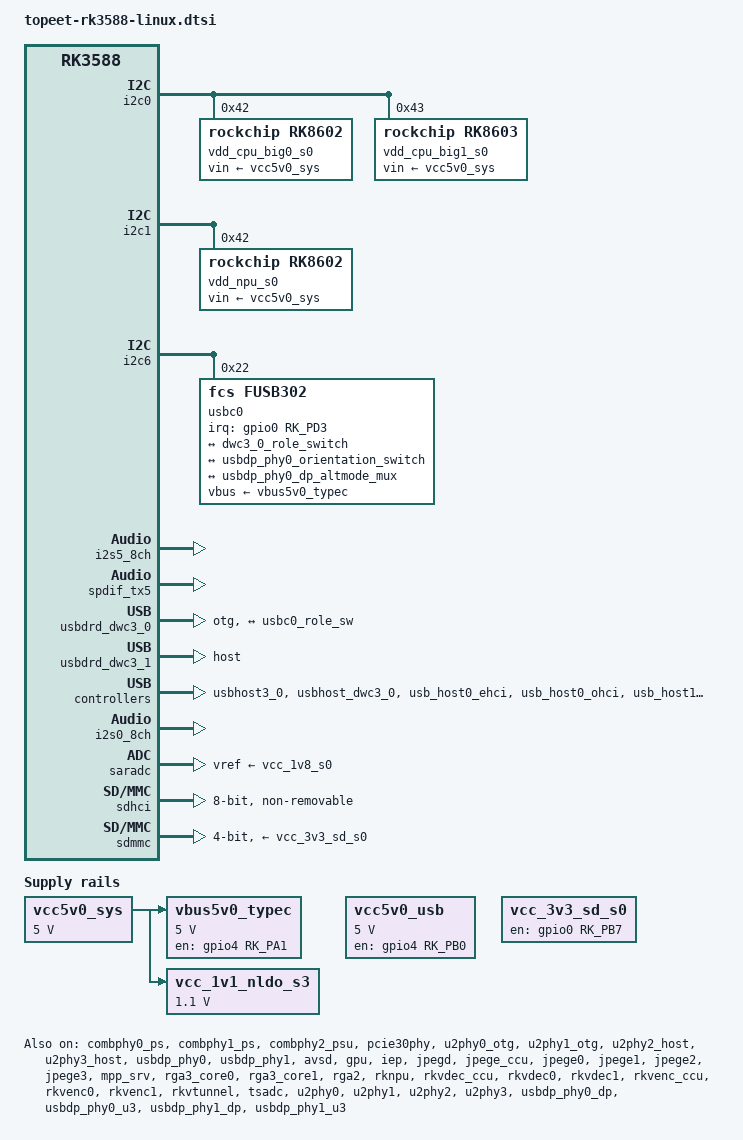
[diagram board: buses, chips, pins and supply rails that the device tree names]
// SPDX-License-Identifier: (GPL-2.0+ OR MIT)
/*
 * Copyright (c) 2021 Rockchip Electronics Co., Ltd.
 *
 */
#include <dt-bindings/gpio/gpio.h>
#include <dt-bindings/pwm/pwm.h>
#include <dt-bindings/pinctrl/rockchip.h>
#include <dt-bindings/input/rk-input.h>
#include <dt-bindings/display/drm_mipi_dsi.h>
#include <dt-bindings/display/rockchip_vop.h>
#include <dt-bindings/sensor-dev.h>
#include "dt-bindings/usb/pd.h"
#include "rk3588.dtsi"
#include "rk3588-rk806-single.dtsi"

/ {
	// HDMI0声卡
	hdmi0_sound: hdmi0-sound {
		status = "disabled";
		compatible = "rockchip,hdmi";
		rockchip,mclk-fs = <128>;
		rockchip,card-name = "rockchip-hdmi0";
		rockchip,cpu = <&i2s5_8ch>;
		rockchip,codec = <&hdmi0>;
		rockchip,jack-det;
	};

	// HDMI1声卡
	hdmi1_sound: hdmi1-sound {
		status = "disabled";
		compatible = "rockchip,hdmi";
		rockchip,mclk-fs = <128>;
		rockchip,card-name = "rockchip-hdmi1";
		rockchip,cpu = <&i2s6_8ch>;
		rockchip,codec = <&hdmi1>;
		rockchip,jack-det;
	};

	// DP0声卡
	dp0_sound: dp0-sound {
		status = "disabled";
		compatible = "rockchip,hdmi";
		rockchip,card-name= "rockchip-dp0";
		rockchip,mclk-fs = <512>;
		rockchip,cpu = <&spdif_tx2>;
		rockchip,codec = <&dp0 1>;
		rockchip,jack-det;
	};

	//HDMI in
	hdmiin_dc: hdmiin-dc {
			compatible = "rockchip,dummy-codec";
			#sound-dai-cells = <0>;
	};

	hdmiin-sound {
			compatible = "simple-audio-card";
			simple-audio-card,format = "i2s";
			simple-audio-card,name = "rockchip,hdmiin";
			simple-audio-card,bitclock-master = <&dailink0_master>;
			simple-audio-card,frame-master = <&dailink0_master>;
			status = "okay";
			simple-audio-card,cpu {
					sound-dai = <&i2s7_8ch>;
			};
			dailink0_master: simple-audio-card,codec {
					sound-dai = <&hdmiin_dc>;
			};
	};

	// 5V系统供电
	vcc5v0_sys: vcc5v0-sys {
		compatible = "regulator-fixed";
		regulator-name = "vcc5v0_sys";
		regulator-always-on;
		regulator-boot-on;
		regulator-min-microvolt = <5000000>;
		regulator-max-microvolt = <5000000>;
	};

	//USB2.0 3.0 5V供电
	vcc5v0_usb: vcc5v0-usb {
		compatible = "regulator-fixed";
		regulator-name = "vcc5v0_usb";
		regulator-always-on;
		regulator-boot-on;
		enable-active-high;
		regulator-min-microvolt = <5000000>;
		regulator-max-microvolt = <5000000>;
		gpio = <&gpio4 RK_PB0 GPIO_ACTIVE_HIGH>;
	};

	//TYPEC 5V供电
	vbus5v0_typec: vbus5v0-typec {
		compatible = "regulator-fixed";
		regulator-name = "vbus5v0_typec";
		regulator-min-microvolt = <5000000>;
		regulator-max-microvolt = <5000000>;
		enable-active-high;
		gpio = <&gpio4 RK_PA1 GPIO_ACTIVE_HIGH>;
		vin-supply = <&vcc5v0_sys>;
		pinctrl-names = "default";
		pinctrl-0 = <&typec5v_pwren>;
	};

	//SD卡供电
	vcc_3v3_sd_s0: vcc-3v3-sd-s0-regulator {
		compatible = "regulator-fixed";
		gpio = <&gpio0 RK_PB7 GPIO_ACTIVE_HIGH>;
		pinctrl-names = "default";
		pinctrl-0 = <&sd_s0_pwr>;
		regulator-name = "vcc_3v3_sd_s0";
		enable-active-high;
	};

	vcc_1v1_nldo_s3: vcc-1v1-nldo-s3 {
		compatible = "regulator-fixed";
		regulator-name = "vcc_1v1_nldo_s3";
		regulator-always-on;
		regulator-boot-on;
		regulator-min-microvolt = <1100000>;
		regulator-max-microvolt = <1100000>;
		vin-supply = <&vcc5v0_sys>;
	};


};


&i2c0 {
	status = "okay";
	pinctrl-names = "default";
	pinctrl-0 = <&i2c0m2_xfer>;

	vdd_cpu_big0_s0: vdd_cpu_big0_mem_s0: rk8602@42 {
		compatible = "rockchip,rk8602";
		reg = <0x42>;
		vin-supply = <&vcc5v0_sys>;
		regulator-compatible = "rk860x-reg";
		regulator-name = "vdd_cpu_big0_s0";
		regulator-min-microvolt = <550000>;
		regulator-max-microvolt = <1050000>;
		regulator-ramp-delay = <2300>;
		rockchip,suspend-voltage-selector = <1>;
		regulator-boot-on;
		regulator-always-on;
		regulator-state-mem {
			regulator-off-in-suspend;
		};
	};

	vdd_cpu_big1_s0: vdd_cpu_big1_mem_s0: rk8603@43 {
		compatible = "rockchip,rk8603";
		reg = <0x43>;
		vin-supply = <&vcc5v0_sys>;
		regulator-compatible = "rk860x-reg";
		regulator-name = "vdd_cpu_big1_s0";
		regulator-min-microvolt = <550000>;
		regulator-max-microvolt = <1050000>;
		regulator-ramp-delay = <2300>;
		rockchip,suspend-voltage-selector = <1>;
		regulator-boot-on;
		regulator-always-on;
		regulator-state-mem {
			regulator-off-in-suspend;
		};
	};
};

&i2c1 {
	status = "okay";
	pinctrl-names = "default";
	pinctrl-0 = <&i2c1m2_xfer>;

	vdd_npu_s0: vdd_npu_mem_s0: rk8602@42 {
		compatible = "rockchip,rk8602";
		reg = <0x42>;
		vin-supply = <&vcc5v0_sys>;
		regulator-compatible = "rk860x-reg";
		regulator-name = "vdd_npu_s0";
		regulator-min-microvolt = <550000>;
		regulator-max-microvolt = <950000>;
		regulator-ramp-delay = <2300>;
		rockchip,suspend-voltage-selector = <1>;
		regulator-boot-on;
		regulator-always-on;
		regulator-state-mem {
			regulator-off-in-suspend;
		};
	};
};


&combphy0_ps {
	status = "okay";
};

&combphy1_ps {
	status = "okay";
};

&combphy2_psu {
	status = "okay";
};


&i2c6 {
	status = "okay";

		usbc0: fusb302@22 {
			compatible = "fcs,fusb302";
			reg = <0x22>;
			interrupt-parent = <&gpio0>;
			interrupts = <RK_PD3 IRQ_TYPE_LEVEL_LOW>;
			pinctrl-names = "default";
			pinctrl-0 = <&usbc0_int>;
			vbus-supply = <&vbus5v0_typec>;
			status = "okay";

			ports {
					#address-cells = <1>;
					#size-cells = <0>;

					port@0 {
							reg = <0>;
							usbc0_role_sw: endpoint@0 {
									remote-endpoint = <&dwc3_0_role_switch>;
							};
					};
			};

			usb_con: connector {
					compatible = "usb-c-connector";
					label = "USB-C";
					data-role = "dual";
					power-role = "dual";
					try-power-role = "sink";
					op-sink-microwatt = <1000000>;
					sink-pdos =
							<PDO_FIXED(5000, 1000, PDO_FIXED_USB_COMM)>;
					source-pdos =
							<PDO_FIXED(5000, 3000, PDO_FIXED_USB_COMM)>;

					altmodes {
							#address-cells = <1>;
							#size-cells = <0>;

							altmode@0 {
									reg = <0>;
									svid = <0xff01>;
									vdo = <0xffffffff>;
							};
					};

					ports {
							#address-cells = <1>;
							#size-cells = <0>;

							port@0 {
									reg = <0>;
									usbc0_orien_sw: endpoint {
											remote-endpoint = <&usbdp_phy0_orientation_switch>;
									};
							};

							port@1 {
									reg = <1>;
									dp_altmode_mux: endpoint {
											remote-endpoint = <&usbdp_phy0_dp_altmode_mux>;
									};
							};

					};
			};
	};
};

&i2s5_8ch {
	status = "okay";
};

&pcie30phy {
	status = "okay";
};


&pinctrl {
	usb-typec {
		usbc0_int: usbc0-int {
			rockchip,pins = <0 RK_PD3 RK_FUNC_GPIO &pcfg_pull_up>;
		};

		typec5v_pwren: typec5v-pwren {
			rockchip,pins = <4 RK_PA1 RK_FUNC_GPIO &pcfg_pull_none>;
		};
	};
	
	sdmmc {
		sd_s0_pwr: sd-s0-pwr {
			rockchip,pins = <0 RK_PB7 RK_FUNC_GPIO &pcfg_pull_up>;
		};
	};
};


&spdif_tx5 {
	status = "okay";
};

&u2phy0_otg {
	rockchip,typec-vbus-det;
};

&u2phy1_otg {
        status = "okay";
};

&u2phy2_host {
        status = "okay";
};

&u2phy3_host {
        status = "okay";
};

&usbdp_phy0 {
	orientation-switch;
	svid = <0xff01>;
	sbu1-dc-gpios = <&gpio4 RK_PA6 GPIO_ACTIVE_HIGH>;
	sbu2-dc-gpios = <&gpio4 RK_PA7 GPIO_ACTIVE_HIGH>;

	port {
		#address-cells = <1>;
		#size-cells = <0>;
		usbdp_phy0_orientation_switch: endpoint@0 {
			reg = <0>;
			remote-endpoint = <&usbc0_orien_sw>;
		};

		usbdp_phy0_dp_altmode_mux: endpoint@1 {
			reg = <1>;
			remote-endpoint = <&dp_altmode_mux>;
		};
	};
};


&usbdrd_dwc3_0 {
	status = "okay";
	dr_mode = "otg";
	usb-role-switch;
	port {
		#address-cells = <1>;
		#size-cells = <0>;
		dwc3_0_role_switch: endpoint@0 {
			reg = <0>;
			remote-endpoint = <&usbc0_role_sw>;
		};
	};
};

&usbdp_phy1 {
        status = "okay";
        rockchip,dp-lane-mux = <2 3>;
};


&usbdrd_dwc3_1 {
        status = "okay";
        dr_mode = "host";
};


&usbhost3_0 {
        status = "okay";
};

&usbhost_dwc3_0 {
        status = "okay";
};
&av1d_mmu {
	status = "okay";
};

&avsd {
	status = "okay";
};

&cpu_l0 {
	cpu-supply = <&vdd_cpu_lit_s0>;
	mem-supply = <&vdd_cpu_lit_mem_s0>;
};

&cpu_b0 {
	cpu-supply = <&vdd_cpu_big0_s0>;
	mem-supply = <&vdd_cpu_big0_mem_s0>;
};

&cpu_b2 {
	cpu-supply = <&vdd_cpu_big1_s0>;
	mem-supply = <&vdd_cpu_big1_mem_s0>;
};


&gpu {
	mali-supply = <&vdd_gpu_s0>;
	mem-supply = <&vdd_gpu_mem_s0>;
	status = "okay";
};

&i2s0_8ch {
	status = "okay";
	pinctrl-0 = <&i2s0_lrck
		     &i2s0_sclk
		     &i2s0_sdi0
		     &i2s0_sdo0>;
};

&iep {
	status = "okay";
};

&iep_mmu {
	status = "okay";
};

&jpegd {
	status = "okay";
};

&jpegd_mmu {
	status = "okay";
};

&jpege_ccu {
	status = "okay";
};

&jpege0 {
	status = "okay";
};

&jpege0_mmu {
	status = "okay";
};

&jpege1 {
	status = "okay";
};

&jpege1_mmu {
	status = "okay";
};

&jpege2 {
	status = "okay";
};

&jpege2_mmu {
	status = "okay";
};

&jpege3 {
	status = "okay";
};

&jpege3_mmu {
	status = "okay";
};

&mpp_srv {
	status = "okay";
};

&rga3_core0 {
	status = "okay";
};

&rga3_0_mmu {
	status = "okay";
};

&rga3_core1 {
	status = "okay";
};

&rga3_1_mmu {
	status = "okay";
};

&rga2 {
	status = "okay";
};

&rknpu {
	rknpu-supply = <&vdd_npu_s0>;
	mem-supply = <&vdd_npu_mem_s0>;
	status = "okay";
};

&rknpu_mmu {
	status = "okay";
};

&rkvdec_ccu {
	status = "okay";
};

&rkvdec0 {
	status = "okay";
};

&rkvdec0_mmu {
	status = "okay";
};

&rkvdec1 {
	status = "okay";
};

&rkvdec1_mmu {
	status = "okay";
};

&rkvenc_ccu {
	status = "okay";
};

&rkvenc0 {
	venc-supply = <&vdd_vdenc_s0>;
	mem-supply = <&vdd_vdenc_mem_s0>;
	status = "okay";
};

&rkvenc0_mmu {
	status = "okay";
};

&rkvenc1 {
	venc-supply = <&vdd_vdenc_s0>;
	mem-supply = <&vdd_vdenc_mem_s0>;
	status = "okay";
};

&rkvenc1_mmu {
	status = "okay";
};

&rkvtunnel {
	status = "okay";
};

&rockchip_suspend {
	status = "okay";
	rockchip,sleep-debug-en = <1>;
};

&saradc {
	status = "okay";
	vref-supply = <&vcc_1v8_s0>;
};

&sdhci {
	bus-width = <8>;
	no-sdio;
	no-sd;
	non-removable;
	max-frequency = <200000000>;
	mmc-hs400-1_8v;
	mmc-hs400-enhanced-strobe;
	full-pwr-cycle-in-suspend;
	status = "okay";
};

&sdmmc {
	max-frequency = <150000000>;
	no-sdio;
	no-mmc;
	bus-width = <4>;
	cap-mmc-highspeed;
	cap-sd-highspeed;
	disable-wp;
	sd-uhs-sdr104;
	vmmc-supply = <&vcc_3v3_sd_s0>;
	status = "okay";
};

&tsadc {
	status = "okay";
};

&u2phy0 {
	status = "okay";
};

&u2phy1 {
	status = "okay";
};

&u2phy2 {
	status = "okay";
};

&u2phy3 {
	status = "okay";
};

&u2phy0_otg {
	status = "okay";
};

&u2phy1_otg {
	status = "okay";
};

&u2phy2_host {
	status = "okay";
};

&u2phy3_host {
	status = "okay";
};

&usb_host0_ehci {
	status = "okay";
};

&usb_host0_ohci {
	status = "okay";
};

&usb_host1_ehci {
	status = "okay";
};

&usb_host1_ohci {
	status = "okay";
};

&usbdp_phy0 {
	status = "okay";
};

&usbdp_phy0_dp {
	status = "okay";
};

&usbdp_phy0_u3 {
	status = "okay";
};

&usbdp_phy1 {
	status = "okay";
};

&usbdp_phy1_dp {
	status = "okay";
};

&usbdp_phy1_u3 {
	status = "okay";
};

&usbdrd3_0 {
	status = "okay";
};


&usbhost3_0 {
	status = "okay";
};

&usbhost_dwc3_0 {
	status = "okay";
};

&usbdrd3_1 {
	status = "okay";
};


&vdpu {
	status = "okay";
};

&vdpu_mmu {
	status = "okay";
};

&vepu {
	status = "okay";
};

&vop {
	status = "okay";
};

&vop_mmu {
	status = "okay";
};

/* vp0 & vp1 splice for 8K output */
&vp0 {
	rockchip,plane-mask = <(1 << ROCKCHIP_VOP2_CLUSTER0 | 1 << ROCKCHIP_VOP2_ESMART0)>;
	rockchip,primary-plane = <ROCKCHIP_VOP2_ESMART0>;
};

&vp1 {
	rockchip,plane-mask = <(1 << ROCKCHIP_VOP2_CLUSTER1 | 1 << ROCKCHIP_VOP2_ESMART1)>;
	rockchip,primary-plane = <ROCKCHIP_VOP2_ESMART1>;
};

&vp2 {
	rockchip,plane-mask = <(1 << ROCKCHIP_VOP2_CLUSTER2 | 1 << ROCKCHIP_VOP2_ESMART2)>;
	rockchip,primary-plane = <ROCKCHIP_VOP2_ESMART2>;
};

&vp3 {
	rockchip,plane-mask = <(1 << ROCKCHIP_VOP2_CLUSTER3 | 1 << ROCKCHIP_VOP2_ESMART3)>;
	rockchip,primary-plane = <ROCKCHIP_VOP2_ESMART3>;
};
